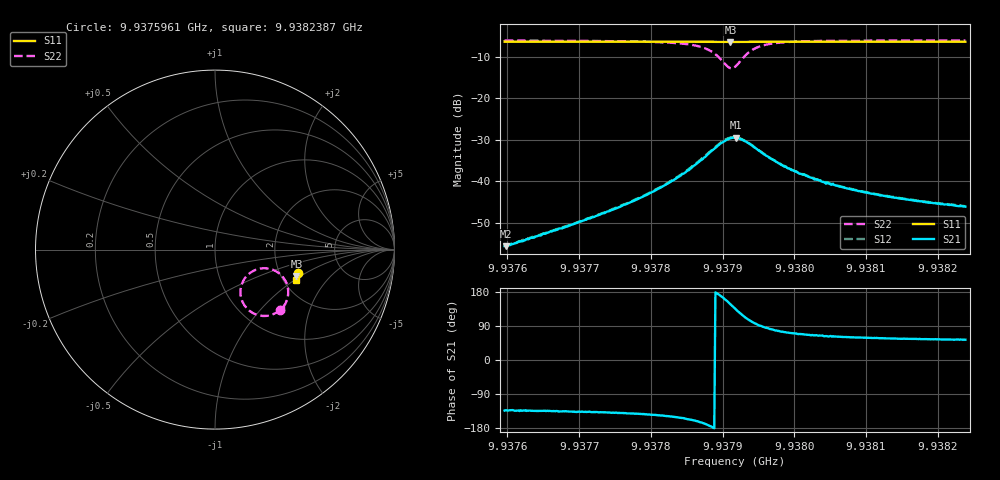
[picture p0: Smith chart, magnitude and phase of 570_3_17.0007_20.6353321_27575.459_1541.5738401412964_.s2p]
#  HZ  S  RI  R  50.00
! Rohde & Schwarz Vector Network Analyzer
! Rohde-Schwarz,ZNB20-2Port,1311601062101988,3.16
! Created: UTC 3/20/2024, 11:17:41 PM
! freq[Hz]  re:S11  im:S11  re:S21  im:S21  re:S12  im:S12  re:S22  im:S22
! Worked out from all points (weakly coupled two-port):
!   401 points, 9.9375961 GHz to 9.9382387 GHz, reference 50 ohm
!   highest |S21| = -29.49 dB at 9.937919 GHz (marker M1); lowest = -55.6 dB at 9.9375977 GHz (marker M2)
!   lowest |S11| = -6.4 dB at 9.937911 GHz (marker M3), VSWR 2.82, Z = 121 - j45.9 ohm
!   |S11| at or under -10 dB: nowhere
!   |S22| runs from -12.8 to -6.1 dB; largest |S21 - S12| = 0.0015
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9.93759607e9  0.4651 -0.1278  -0.00114 -0.00121  -0.00113 -0.00121  0.3626 -0.3378
9.93759768e9  0.4652 -0.1279  -0.00111 -0.00122  -0.00119 -0.0012  0.3625 -0.338
9.93770372e9  0.4625 -0.1351  -0.00238 -0.00229  -0.00247 -0.00226  0.3459 -0.3495
9.93775513e9  0.4613 -0.1387  -0.0037 -0.00314  -0.00382 -0.00313  0.3316 -0.3571
9.93781136e9  0.4594 -0.1425  -0.00681 -0.00459  -0.00701 -0.00458  0.3023 -0.367
9.93784189e9  0.4582 -0.1448  -0.0105 -0.00539  -0.0108 -0.00537  0.2699 -0.3697
9.93787402e9  0.4565 -0.1467  -0.0187 -0.00427  -0.0192 -0.0039  0.2042 -0.3494
9.93788687e9  0.4555 -0.1474  -0.0239 -0.000623  -0.0246 -0.000312  0.1667 -0.3141
9.93789812e9  0.4545 -0.1474  -0.0283 0.00596  -0.0286 0.00685  0.1428 -0.2545
9.93790615e9  0.454 -0.1469  -0.029 0.0129  -0.0292 0.0143  0.1481 -0.1959
9.93791097e9  0.4538 -0.1467  -0.0278 0.0177  -0.0278 0.0191  0.1654 -0.1608
9.9379174e9  0.4541 -0.1465  -0.0241 0.0232  -0.0236 0.0245  0.2046 -0.1236
9.93791901e9  0.4541 -0.1463  -0.0228 0.0246  -0.0222 0.0256  0.2164 -0.1172
9.93792704e9  0.4548 -0.1464  -0.0155 0.0276  -0.0148 0.0285  0.2773 -0.1038
9.93793668e9  0.4555 -0.1469  -0.00786 0.0276  -0.00694 0.028  0.3373 -0.1193
9.93795435e9  0.456 -0.1484  0.000277 0.0222  0.0011 0.0225  0.3917 -0.1731
9.93798649e9  0.4559 -0.1512  0.0042 0.0144  0.00461 0.0145  0.4079 -0.2406
9.93802505e9  0.455 -0.1543  0.00448 0.01  0.00487 0.00995  0.4016 -0.2785
9.93806521e9  0.454 -0.1572  0.00414 0.00752  0.00433 0.00752  0.3932 -0.2986
9.93813269e9  0.4522 -0.1617  0.00352 0.00544  0.0037 0.00546  0.3823 -0.3172
9.93818732e9  0.4507 -0.1653  0.00319 0.00452  0.00333 0.00454  0.3755 -0.3262
9.93823873e9  0.4493 -0.1685  0.00295 0.00398  0.00307 0.00397  0.3699 -0.3325
